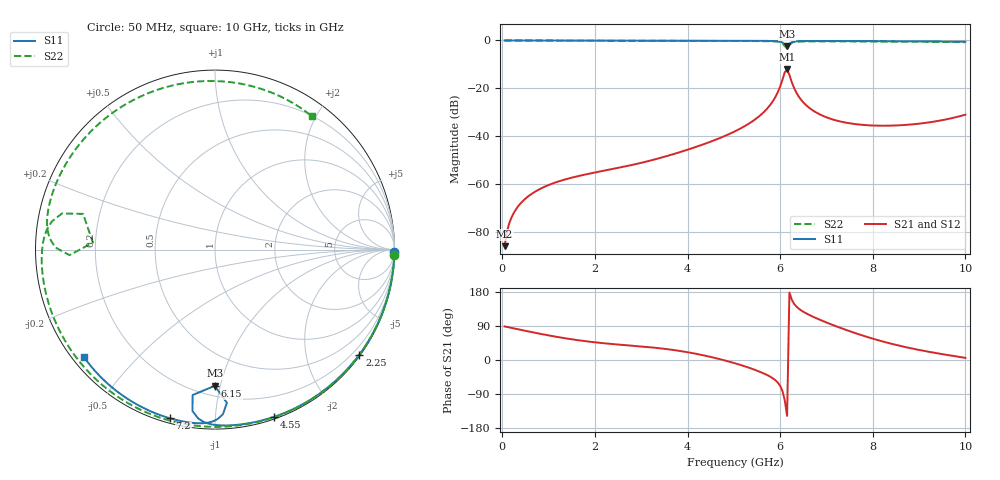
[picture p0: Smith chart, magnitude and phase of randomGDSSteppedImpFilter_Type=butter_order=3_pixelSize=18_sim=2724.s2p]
! freq	dB(S11)	phase(S11)	dB(S12)	phase(S12)
!  dB(S21)	phase(S21)	dB(S22)	phase(S22)
!S-par simulation data
#  GHz  S  DB  R 50
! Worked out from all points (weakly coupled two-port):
!   200 points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, 50 MHz to 10 GHz, reference 50 ohm
!   highest |S21| = -12.09 dB at 6.15 GHz (marker M1); lowest = -86.0 dB at 50 MHz (marker M2)
!   lowest |S11| = -2.4 dB at 6.15 GHz (marker M3), VSWR 7.30, Z = 13.4 - j48.1 ohm
!   |S11| at or under -10 dB: nowhere
!   |S22| runs from -3.3 to 0.0 dB; largest |S21 - S12| = 0
!   S11 on the Smith chart (normalised r, x): 50 MHz: open; 2.25 GHz: 0.03, -3.07; 4.55 GHz: 0.02, -1.41; 6.15 GHz: 0.27, -0.96; 7.2 GHz: 0.02, -0.77; 10 GHz: 0.03, -0.36
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0.05  -0.00 -0.8  -86.02 88.6  -86.02 88.6  -0.00 -1.8
0.1  -0.00 -1.6  -79.99 87.2  -79.99 87.2  -0.00 -3.7
0.3  -0.01 -4.9  -70.48 82.2  -70.48 82.2  -0.02 -10.9
0.6  -0.01 -9.8  -64.60 74.5  -64.60 74.5  -0.03 -21.6
1.75  -0.04 -28.2  -56.23 50.4  -56.23 50.4  -0.08 -61.4
2.25  -0.05 -36.0  -54.27 43.6  -54.27 43.6  -0.09 -77.6
3.4  -0.07 -53.7  -49.18 31.0  -49.18 31.0  -0.14 -112.4
4.55  -0.10 -70.7  -41.94 6.7  -41.94 6.7  -0.19 -144.6
5.05  -0.12 -78.0  -37.74 -9.6  -37.74 -9.6  -0.22 -158.3
5.75  -0.19 -89.0  -27.80 -41.6  -27.80 -41.6  -0.31 -178.7
5.9  -0.27 -92.4  -23.54 -53.8  -23.54 -53.8  -0.42 175.5
6.05  -0.84 -97.9  -16.41 -81.7  -16.41 -81.7  -1.16 166.7
6.1  -1.72 -98.7  -13.26 -106.6  -13.26 -106.6  -2.37 164.9
6.15  -2.40 -90.1  -12.09 -147.4  -12.09 -147.4  -3.33 176.7
6.2  -1.35 -85.6  -14.42 178.0  -14.42 178.0  -1.82 -177.8
6.3  -0.49 -89.2  -19.83 148.5  -19.83 148.5  -0.69 176.0
6.45  -0.28 -93.3  -24.74 131.2  -24.74 131.2  -0.43 169.2
6.7  -0.23 -97.7  -29.18 114.7  -29.18 114.7  -0.37 160.7
7.2  -0.24 -105.0  -33.40 89.4  -33.40 89.4  -0.38 145.8
8.35  -0.32 -120.0  -35.64 44.5  -35.64 44.5  -0.47 110.9
9.2  -0.40 -130.6  -34.30 21.9  -34.30 21.9  -0.57 82.9
10  -0.50 -140.7  -31.04 5.6  -31.04 5.6  -0.74 54.1
